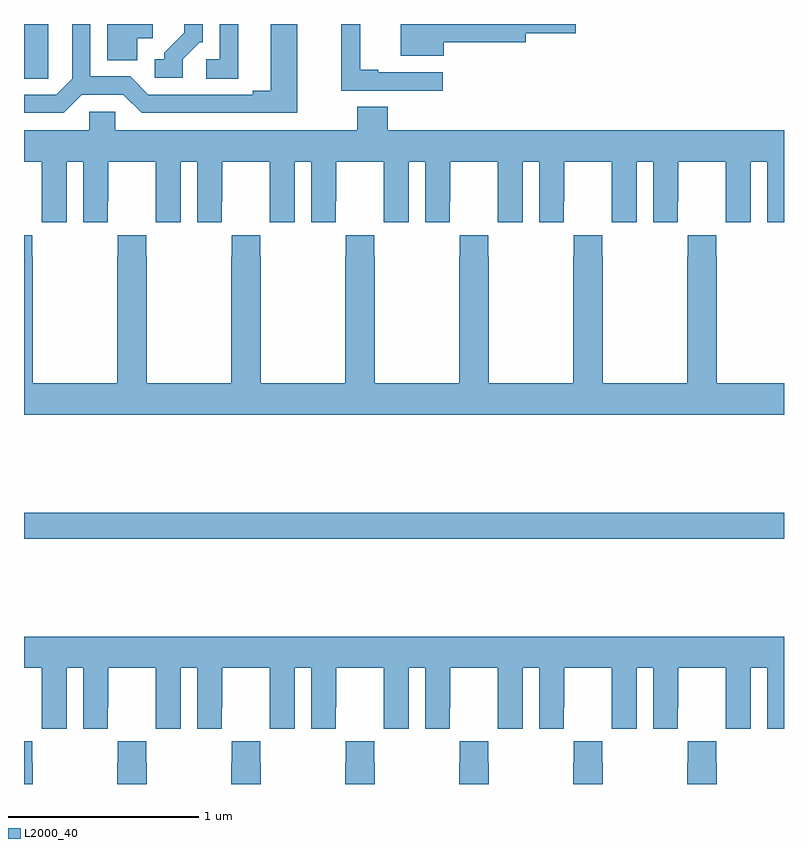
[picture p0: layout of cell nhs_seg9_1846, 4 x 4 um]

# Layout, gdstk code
import gdstk
lib = gdstk.Library(unit=1e-6, precision=1e-09)
def R(c, l, rs):  # rectangles x0, y0, x1, y1
    for r in rs: c.add(gdstk.rectangle(r[:2], r[2:], *l))
def P(c, l, *ps):  # polygons
    for p in ps: c.add(gdstk.Polygon(p, *l))
L2000_40 = (2000, 40)

nhs_seg9_1846 = lib.new_cell('nhs_seg9_1846')
R(nhs_seg9_1846, L2000_40, [(215,1171.792,219,1171.928)])
P(nhs_seg9_1846, L2000_40, [(215.305,1174.128),(215.523,1174.128),(215.619,1174.032),(216.439,1174.032),(216.439,1174.5),(216.299,1174.5),(216.299,1174.148),(216.203,1174.148),(216.203,1174.128),(215.655,1174.128),(215.559,1174.224),(215.349,1174.224),(215.349,1174.5),(215.253,1174.5),(215.253,1174.212),(215.169,1174.128),(215,1174.128),(215,1174.032),(215.209,1174.032)],
  [(215.127,1174.321),(215.128,1174.321),(215.128,1174.5),(215,1174.5),(215,1174.213),(215.127,1174.213)],
  [(216.127,1174.5),(216.03,1174.5),(216.03,1174.314),(215.958,1174.314),(215.958,1174.213),(216.127,1174.213)],
  [(217.204,1174.245),(216.865,1174.245),(216.865,1174.258),(216.77,1174.258),(216.77,1174.5),(216.67,1174.5),(216.67,1174.149),(217.204,1174.149)],
  [(217.21,1174.404),(217.642,1174.404),(217.642,1174.451),(217.903,1174.451),(217.903,1174.5),(216.983,1174.5),(216.983,1174.334),(217.21,1174.334)],
  [(215.596,1174.424),(215.677,1174.424),(215.677,1174.5),(215.438,1174.5),(215.438,1174.309),(215.596,1174.309)],
  [(215.835,1174.314),(215.925,1174.404),(215.94,1174.404),(215.94,1174.5),(215.843,1174.5),(215.843,1174.454),(215.738,1174.349),(215.738,1174.314),(215.688,1174.314),(215.688,1174.218),(215.835,1174.218)],
  [(215.224,1173.776),(215.312,1173.776),(215.312,1173.456),(215.442,1173.456),(215.442,1173.568),(215.443,1173.568),(215.443,1173.776),(215.693,1173.776),(215.693,1173.568),(215.694,1173.568),(215.694,1173.456),(215.824,1173.456),(215.824,1173.776),(215.912,1173.776),(215.912,1173.456),(216.042,1173.456),(216.042,1173.568),(216.043,1173.568),(216.043,1173.776),(216.293,1173.776),(216.293,1173.568),(216.294,1173.568),(216.294,1173.456),(216.424,1173.456),(216.424,1173.776),(216.512,1173.776),(216.512,1173.456),(216.642,1173.456),(216.642,1173.568),(216.643,1173.568),(216.643,1173.776),(216.893,1173.776),(216.893,1173.568),(216.894,1173.568),(216.894,1173.456),(217.024,1173.456),(217.024,1173.776),(217.112,1173.776),(217.112,1173.456),(217.242,1173.456),(217.242,1173.568),(217.243,1173.568),(217.243,1173.776),(217.493,1173.776),(217.493,1173.568),(217.494,1173.568),(217.494,1173.456),(217.624,1173.456),(217.624,1173.776),(217.712,1173.776),(217.712,1173.456),(217.842,1173.456),(217.842,1173.568),(217.843,1173.568),(217.843,1173.776),(218.093,1173.776),(218.093,1173.568),(218.094,1173.568),(218.094,1173.456),(218.224,1173.456),(218.224,1173.776),(218.312,1173.776),(218.312,1173.456),(218.442,1173.456),(218.442,1173.568),(218.443,1173.568),(218.443,1173.776),(218.693,1173.776),(218.693,1173.568),(218.694,1173.568),(218.694,1173.456),(218.824,1173.456),(218.824,1173.776),(218.912,1173.776),(218.912,1173.456),(219,1173.456),(219,1173.94),(216.914,1173.94),(216.914,1174.064),(216.754,1174.064),(216.754,1173.94),(215.481,1173.94),(215.481,1174.038),(215.343,1174.038),(215.343,1173.94),(215,1173.94),(215,1173.776),(215.093,1173.776),(215.093,1173.568),(215.094,1173.568),(215.094,1173.456),(215.224,1173.456)],
  [(219,1172.608),(218.646,1172.608),(218.646,1173.275),(218.643,1173.275),(218.643,1173.388),(218.493,1173.388),(218.493,1173.275),(218.491,1173.275),(218.491,1172.608),(218.046,1172.608),(218.046,1173.275),(218.043,1173.275),(218.043,1173.388),(217.893,1173.388),(217.893,1173.275),(217.891,1173.275),(217.891,1172.608),(217.446,1172.608),(217.446,1173.275),(217.443,1173.275),(217.443,1173.388),(217.293,1173.388),(217.293,1173.275),(217.291,1173.275),(217.291,1172.608),(216.846,1172.608),(216.846,1173.275),(216.843,1173.275),(216.843,1173.388),(216.693,1173.388),(216.693,1173.275),(216.691,1173.275),(216.691,1172.608),(216.246,1172.608),(216.246,1173.275),(216.243,1173.275),(216.243,1173.388),(216.093,1173.388),(216.093,1173.275),(216.091,1173.275),(216.091,1172.608),(215.646,1172.608),(215.646,1173.275),(215.643,1173.275),(215.643,1173.388),(215.493,1173.388),(215.493,1173.275),(215.491,1173.275),(215.491,1172.608),(215.046,1172.608),(215.046,1173.275),(215.043,1173.275),(215.043,1173.388),(215,1173.388),(215,1172.444),(219,1172.444)],
  [(215.224,1171.112),(215.312,1171.112),(215.312,1170.792),(215.442,1170.792),(215.442,1170.904),(215.443,1170.904),(215.443,1171.112),(215.693,1171.112),(215.693,1170.904),(215.694,1170.904),(215.694,1170.792),(215.824,1170.792),(215.824,1171.112),(215.912,1171.112),(215.912,1170.792),(216.042,1170.792),(216.042,1170.904),(216.043,1170.904),(216.043,1171.112),(216.293,1171.112),(216.293,1170.904),(216.294,1170.904),(216.294,1170.792),(216.424,1170.792),(216.424,1171.112),(216.512,1171.112),(216.512,1170.792),(216.642,1170.792),(216.642,1170.904),(216.643,1170.904),(216.643,1171.112),(216.893,1171.112),(216.893,1170.904),(216.894,1170.904),(216.894,1170.792),(217.024,1170.792),(217.024,1171.112),(217.112,1171.112),(217.112,1170.792),(217.242,1170.792),(217.242,1170.904),(217.243,1170.904),(217.243,1171.112),(217.493,1171.112),(217.493,1170.904),(217.494,1170.904),(217.494,1170.792),(217.624,1170.792),(217.624,1171.112),(217.712,1171.112),(217.712,1170.792),(217.842,1170.792),(217.842,1170.904),(217.843,1170.904),(217.843,1171.112),(218.093,1171.112),(218.093,1170.904),(218.094,1170.904),(218.094,1170.792),(218.224,1170.792),(218.224,1171.112),(218.312,1171.112),(218.312,1170.792),(218.442,1170.792),(218.442,1170.904),(218.443,1170.904),(218.443,1171.112),(218.693,1171.112),(218.693,1170.904),(218.694,1170.904),(218.694,1170.792),(218.824,1170.792),(218.824,1171.112),(218.912,1171.112),(218.912,1170.792),(219,1170.792),(219,1171.276),(215,1171.276),(215,1171.112),(215.093,1171.112),(215.093,1170.904),(215.094,1170.904),(215.094,1170.792),(215.224,1170.792)],
  [(215.046,1170.611),(215.043,1170.611),(215.043,1170.724),(215,1170.724),(215,1170.5),(215.046,1170.5)],
  [(215.646,1170.611),(215.643,1170.611),(215.643,1170.724),(215.493,1170.724),(215.493,1170.611),(215.491,1170.611),(215.491,1170.5),(215.646,1170.5)],
  [(216.246,1170.611),(216.243,1170.611),(216.243,1170.724),(216.093,1170.724),(216.093,1170.611),(216.091,1170.611),(216.091,1170.5),(216.246,1170.5)],
  [(216.846,1170.611),(216.843,1170.611),(216.843,1170.724),(216.693,1170.724),(216.693,1170.611),(216.691,1170.611),(216.691,1170.5),(216.846,1170.5)],
  [(217.446,1170.611),(217.443,1170.611),(217.443,1170.724),(217.293,1170.724),(217.293,1170.611),(217.291,1170.611),(217.291,1170.5),(217.446,1170.5)],
  [(218.046,1170.611),(218.043,1170.611),(218.043,1170.724),(217.893,1170.724),(217.893,1170.611),(217.891,1170.611),(217.891,1170.5),(218.046,1170.5)],
  [(218.646,1170.611),(218.643,1170.611),(218.643,1170.724),(218.493,1170.724),(218.493,1170.611),(218.491,1170.611),(218.491,1170.5),(218.646,1170.5)])

lib.write_gds('nhs_seg9_1846.gds')
